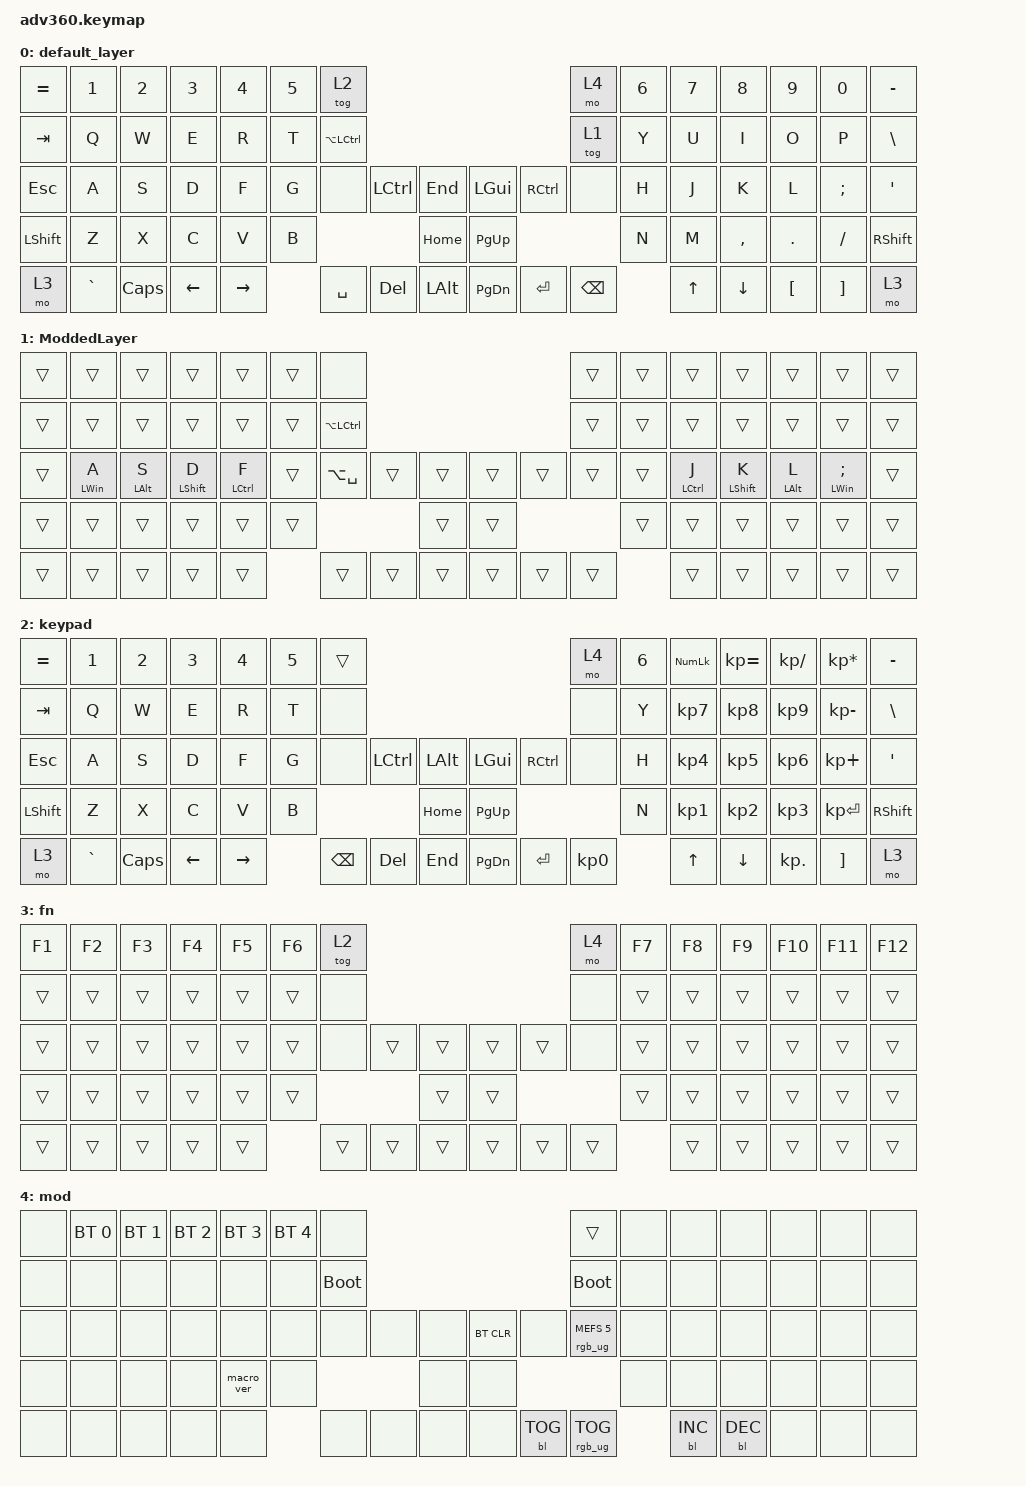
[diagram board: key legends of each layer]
#include <behaviors.dtsi>
#include <dt-bindings/zmk/backlight.h>
#include <dt-bindings/zmk/bt.h>
#include <dt-bindings/zmk/keys.h>
#include <dt-bindings/zmk/rgb.h>

/ {
    behaviors {
        #include "macros.dtsi"
      #include "version.dtsi"
      #ifndef VERSION_MACRO

        macro_ver: macro_ver {
            compatible = "zmk,behavior-macro";
            label = "macro_version";
            #binding-cells = <0>;
            bindings = <&kp RET>;
        };

        #endif

        hm: homerow_mods {
            compatible = "zmk,behavior-hold-tap";
            label = "HOMEROW_MODS";
            #binding-cells = <2>;
            tapping-term-ms = <200>;
            quick_tap_ms = <175>;
            flavor = "tap-preferred";
            bindings = <&kp>, <&kp>;

            hold-trigger-key-positions = <29 30 31 32 41 42 43 44>;
        };
    };

    macros {
    };

    keymap {
        compatible = "zmk,keymap";

        default_layer {
            bindings = <
&kp EQUAL  &kp N1     &kp N2    &kp N3    &kp N4     &kp N5  &tog 2                                                                   &mo 4          &kp N6  &kp N7  &kp N8     &kp N9    &kp N0    &kp MINUS
&kp TAB    &kp Q      &kp W     &kp E     &kp R      &kp T   &kp LA(LEFT_CONTROL)                                                     &tog 1         &kp Y   &kp U   &kp I      &kp O     &kp P     &kp BSLH
&kp ESC    &kp A      &kp S     &kp D     &kp F      &kp G   &none                 &kp LCTRL  &kp END           &kp LGUI   &kp RCTRL  &none          &kp H   &kp J   &kp K      &kp L     &kp SEMI  &kp SQT
&kp LSHFT  &kp Z      &kp X     &kp C     &kp V      &kp B                                    &kp HOME          &kp PG_UP                            &kp N   &kp M   &kp COMMA  &kp DOT   &kp FSLH  &kp RSHFT
&mo 3      &kp GRAVE  &kp CAPS  &kp LEFT  &kp RIGHT          &kp SPACE             &kp DEL    &kp LEFT_ALT      &kp PG_DN  &kp ENTER  &kp BACKSPACE          &kp UP  &kp DOWN   &kp LBKT  &kp RBKT  &mo 3
            >;
        };

        ModdedLayer {
            bindings = <
&trans  &trans          &trans          &trans            &trans       &trans  &none                                                     &trans  &trans  &trans              &trans            &trans          &trans                  &trans
&trans  &trans          &trans          &trans            &trans       &trans  &kp LA(LEFT_CONTROL)                                      &trans  &trans  &trans              &trans            &trans          &trans                  &trans
&trans  &hm LEFT_WIN A  &hm LEFT_ALT S  &hm LEFT_SHIFT D  &hm LCTRL F  &trans  &kp LA(SPACE)         &trans  &trans      &trans  &trans  &trans  &trans  &hm LEFT_CONTROL J  &hm LEFT_SHIFT K  &hm LEFT_ALT L  &hm LEFT_WIN SEMICOLON  &trans
&trans  &trans          &trans          &trans            &trans       &trans                                &trans      &trans                  &trans  &trans              &trans            &trans          &trans                  &trans
&trans  &trans          &trans          &trans            &trans               &trans                &trans  &trans      &trans  &trans  &trans          &trans              &trans            &trans          &trans                  &trans
            >;
        };

        keypad {
            bindings = <
&kp EQUAL  &kp N1     &kp N2    &kp N3    &kp N4     &kp N5  &trans                                                   &mo 4      &kp N6  &kp KP_NUM  &kp KP_EQUAL  &kp KP_DIVIDE  &kp KP_MULTIPLY  &kp MINUS
&kp TAB    &kp Q      &kp W     &kp E     &kp R      &kp T   &none                                                    &none      &kp Y   &kp KP_N7   &kp KP_N8     &kp KP_N9      &kp KP_MINUS     &kp BSLH
&kp ESC    &kp A      &kp S     &kp D     &kp F      &kp G   &none     &kp LCTRL  &kp LALT      &kp LGUI   &kp RCTRL  &none      &kp H   &kp KP_N4   &kp KP_N5     &kp KP_N6      &kp KP_PLUS      &kp SQT
&kp LSHFT  &kp Z      &kp X     &kp C     &kp V      &kp B                        &kp HOME      &kp PG_UP                        &kp N   &kp KP_N1   &kp KP_N2     &kp KP_N3      &kp KP_ENTER     &kp RSHFT
&mo 3      &kp GRAVE  &kp CAPS  &kp LEFT  &kp RIGHT          &kp BSPC  &kp DEL    &kp END       &kp PG_DN  &kp ENTER  &kp KP_N0          &kp UP      &kp DOWN      &kp KP_DOT     &kp RBKT         &mo 3
            >;
        };

        fn {
            bindings = <
&kp F1  &kp F2  &kp F3  &kp F4  &kp F5  &kp F6  &tog 2                                      &mo 4   &kp F7  &kp F8  &kp F9  &kp F10  &kp F11  &kp F12
&trans  &trans  &trans  &trans  &trans  &trans  &none                                       &none   &trans  &trans  &trans  &trans   &trans   &trans
&trans  &trans  &trans  &trans  &trans  &trans  &none   &trans  &trans      &trans  &trans  &none   &trans  &trans  &trans  &trans   &trans   &trans
&trans  &trans  &trans  &trans  &trans  &trans                  &trans      &trans                  &trans  &trans  &trans  &trans   &trans   &trans
&trans  &trans  &trans  &trans  &trans          &trans  &trans  &trans      &trans  &trans  &trans          &trans  &trans  &trans   &trans   &trans
            >;
        };

        mod {
            bindings = <
&none  &bt BT_SEL 0  &bt BT_SEL 1  &bt BT_SEL 2  &bt BT_SEL 3  &bt BT_SEL 4  &none                                                  &trans                  &none  &none       &none       &none  &none  &none
&none  &none         &none         &none         &none         &none         &bootloader                                            &bootloader             &none  &none       &none       &none  &none  &none
&none  &none         &none         &none         &none         &none         &none        &none  &none      &bt BT_CLR  &none       &rgb_ug RGB_MEFS_CMD 5  &none  &none       &none       &none  &none  &none
&none  &none         &none         &none         &macro_ver    &none                             &none      &none                                           &none  &none       &none       &none  &none  &none
&none  &none         &none         &none         &none                       &none        &none  &none      &none       &bl BL_TOG  &rgb_ug RGB_TOG                &bl BL_INC  &bl BL_DEC  &none  &none  &none
            >;
        };
    };
};
